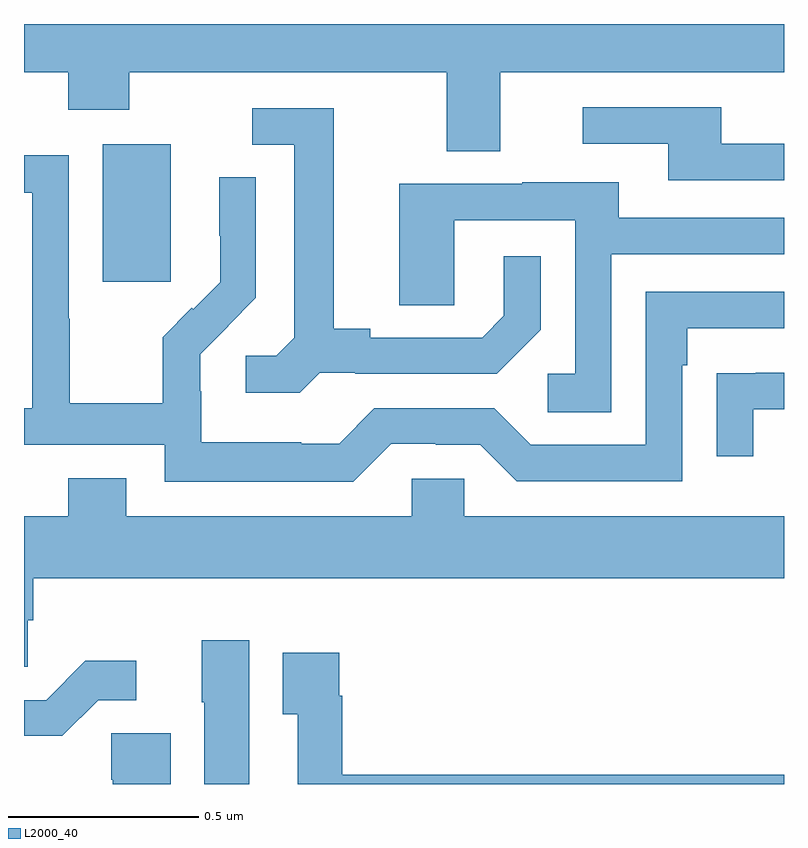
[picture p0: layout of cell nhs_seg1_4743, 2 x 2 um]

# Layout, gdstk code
import gdstk
lib = gdstk.Library(unit=1e-6, precision=1e-09)
def R(c, l, rs):  # rectangles x0, y0, x1, y1
    for r in rs: c.add(gdstk.rectangle(r[:2], r[2:], *l))
def P(c, l, *ps):  # polygons
    for p in ps: c.add(gdstk.Polygon(p, *l))
L2000_40 = (2000, 40)

nhs_seg1_4743 = lib.new_cell('nhs_seg1_4743')
R(nhs_seg1_4743, L2000_40, [(170.207,544.521,170.386,544.882)])
P(nhs_seg1_4743, L2000_40, [(171.253,545.072),(172,545.072),(172,545.199),(170,545.199),(170,545.072),(170.117,545.072),(170.117,544.973),(170.277,544.973),(170.277,545.072),(171.113,545.072),(171.113,544.864),(171.253,544.864)],
  [(172,544.884),(171.835,544.884),(171.835,544.98),(171.471,544.98),(171.471,544.884),(171.695,544.884),(171.695,544.788),(172,544.788)],
  [(170.778,544.281),(170.872,544.281),(170.872,544.278),(171.244,544.278),(171.36,544.394),(171.36,544.588),(171.263,544.588),(171.263,544.431),(171.206,544.374),(170.911,544.374),(170.911,544.397),(170.815,544.397),(170.815,544.977),(170.601,544.977),(170.601,544.881),(170.711,544.881),(170.711,544.373),(170.664,544.326),(170.583,544.326),(170.583,544.229),(170.726,544.229)],
  [(170.967,544.095),(171.083,544.095),(171.083,544.092),(171.201,544.092),(171.297,543.996),(171.732,543.996),(171.732,544.301),(171.745,544.301),(171.745,544.398),(172,544.398),(172,544.494),(171.636,544.494),(171.636,544.092),(171.333,544.092),(171.237,544.188),(170.922,544.188),(170.829,544.095),(170.729,544.095),(170.729,544.099),(170.466,544.099),(170.466,544.233),(170.464,544.233),(170.464,544.33),(170.538,544.404),(170.537,544.405),(170.61,544.478),(170.61,544.796),(170.514,544.796),(170.514,544.642),(170.516,544.642),(170.516,544.52),(170.445,544.449),(170.442,544.452),(170.365,544.375),(170.365,544.201),(170.121,544.201),(170.121,544.424),(170.118,544.424),(170.118,544.854),(170,544.854),(170,544.755),(170.022,544.755),(170.022,544.188),(170,544.188),(170,544.092),(170.37,544.092),(170.37,543.995),(170.867,543.995)],
  [(171.546,544.593),(172,544.593),(172,544.689),(171.565,544.689),(171.565,544.783),(171.311,544.783),(171.311,544.779),(170.987,544.779),(170.987,544.459),(171.132,544.459),(171.132,544.683),(171.45,544.683),(171.45,544.278),(171.378,544.278),(171.378,544.177),(171.546,544.177)],
  [(171.919,544.185),(172,544.185),(172,544.281),(171.925,544.281),(171.925,544.28),(171.823,544.28),(171.823,544.062),(171.919,544.062)],
  [(170.01,543.63),(170.024,543.63),(170.024,543.74),(172,543.74),(172,543.904),(171.159,543.904),(171.159,544.002),(171.021,544.002),(171.021,543.904),(170.269,543.904),(170.269,544.003),(170.117,544.003),(170.117,543.904),(170,543.904),(170,543.508),(170.01,543.508)],
  [(170.593,543.577),(170.468,543.577),(170.468,543.414),(170.474,543.414),(170.474,543.199),(170.593,543.199)],
  [(172,543.224),(170.837,543.224),(170.837,543.431),(170.83,543.431),(170.83,543.544),(170.681,543.544),(170.681,543.383),(170.721,543.383),(170.721,543.199),(172,543.199)],
  [(170.196,543.42),(170.296,543.42),(170.296,543.523),(170.161,543.523),(170.058,543.42),(170,543.42),(170,543.326),(170.101,543.326)],
  [(170.386,543.333),(170.23,543.333),(170.23,543.21),(170.234,543.21),(170.234,543.199),(170.386,543.199)])

lib.write_gds('nhs_seg1_4743.gds')
